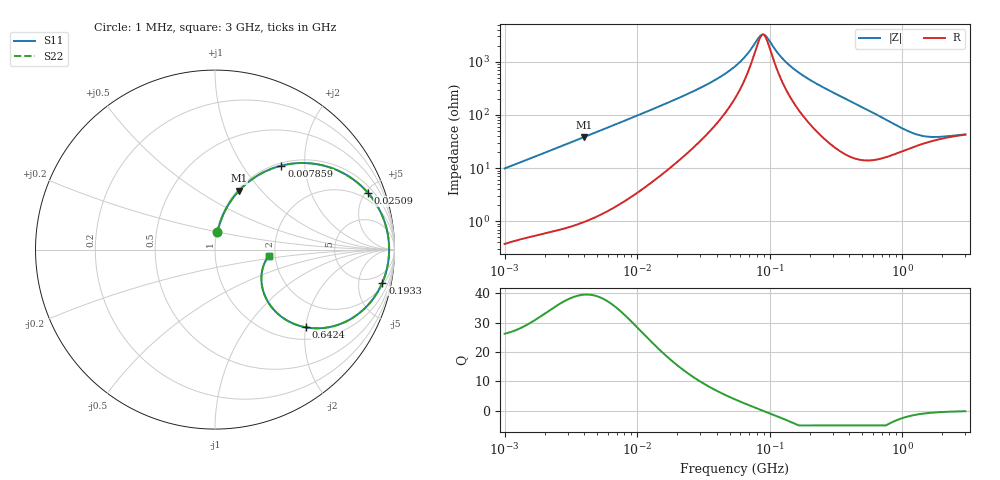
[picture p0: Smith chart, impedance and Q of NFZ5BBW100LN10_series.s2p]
! NFZ5BBW100LN10
# Hz S RI R 50
!Freq.(Hz) S11(Real) S11(Imag) S21(Real) S21(Imag) S12(Real) S12(Imag) S22(Real) S22(Imag)
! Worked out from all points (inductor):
!   401 points, 1 MHz to 3 GHz, reference 50 ohm
!   read as one part in series: L = 1.55 uH near 1.041 MHz
!   highest Q = 39.5 at 3.979 MHz (marker M1), where L = 1.53 uH
!   self-resonance near 89.09 MHz
!   S11 on the Smith chart (normalised r, x): 1 MHz: 1.01, +0.20; 7.859 MHz: 1.05, +1.52; 25.09 MHz: 1.43, +5.19; 193.3 MHz: 2.51, -9.58; 642.4 MHz: 1.29, -2.00; 3 GHz: 1.85, -0.14
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1000000  0.0132 0.0968  0.9868 -0.0968  0.9868 -0.0968  0.0132 0.0968
2182827  0.0481 0.1997  0.9519 -0.1997  0.9519 -0.1997  0.0481 0.1997
3823119  0.1257 0.319  0.8743 -0.319  0.8743 -0.319  0.1257 0.319
3979270  0.1344 0.3286  0.8656 -0.3286  0.8656 -0.3286  0.1344 0.3286
7858845  0.37 0.4679  0.63 -0.4679  0.63 -0.4679  0.37 0.4679
1.461624e7  0.667 0.448  0.333 -0.448  0.333 -0.448  0.667 0.448
2.509235e7  0.8523 0.3161  0.1477 -0.3161  0.1477 -0.3161  0.8523 0.3161
3.897472e7  0.9291 0.1951  0.0709 -0.1951  0.0709 -0.1951  0.9291 0.1951
5.477226e7  0.9576 0.1101  0.0424 -0.1101  0.0424 -0.1101  0.9576 0.1101
6.690963e7  0.966 0.0638  0.034 -0.0638  0.034 -0.0638  0.966 0.0638
8.338914e7  0.97 0.0146  0.03 -0.0146  0.03 -0.0146  0.97 0.0146
9.034013e7  0.9702 -0.00311  0.0298 0.00311  0.0298 0.00311  0.9702 -0.00311
1.321429e8  0.9617 -0.0891  0.0383 0.0891  0.0383 0.0891  0.9617 -0.0891
1.93289e8  0.9326 -0.184  0.0674 0.184  0.0674 0.184  0.9326 -0.184
2.094008e8  0.9227 -0.2057  0.0773 0.2057  0.0773 0.2057  0.9227 -0.2057
3.667557e8  0.7893 -0.3652  0.2107 0.3652  0.2107 0.3652  0.7893 -0.3652
5.051982e8  0.6425 -0.4308  0.3575 0.4308  0.3575 0.4308  0.6425 -0.4308
6.423554e8  0.5051 -0.4329  0.4949 0.4329  0.4949 0.4329  0.5051 -0.4329
8.005644e8  0.386 -0.3854  0.614 0.3854  0.614 0.3854  0.386 -0.3854
1.080907e9  0.2834 -0.2692  0.7166 0.2692  0.7166 0.2692  0.2834 -0.2692
1.488926e9  0.2585 -0.1509  0.7415 0.1509  0.7415 0.1509  0.2585 -0.1509
3e9  0.3 -0.0354  0.7 0.0354  0.7 0.0354  0.3 -0.0354
